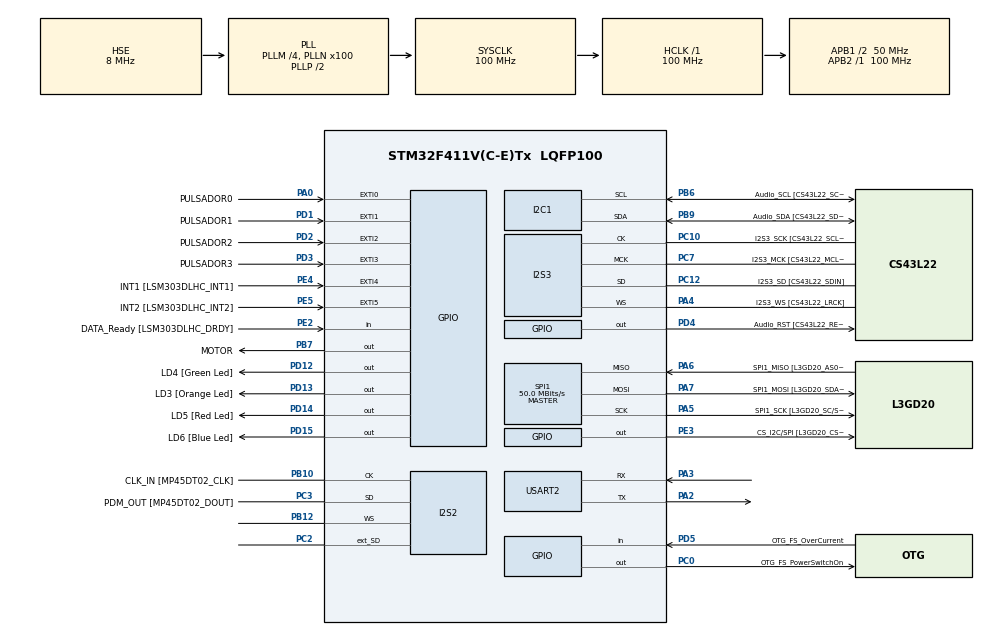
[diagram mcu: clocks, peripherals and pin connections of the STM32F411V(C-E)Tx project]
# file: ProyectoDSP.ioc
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FREERTOS.Tasks01=defaultTask,24,4096,StartDefaultTask,Default,NULL,Dynamic,NULL,NULL
FREERTOS.configMINIMAL_STACK_SIZE=128
FREERTOS.configTOTAL_HEAP_SIZE=32768
I2S2.AudioFreq=I2S_AUDIOFREQ_96K
I2S2.ErrorAudioFreq=0.15 %
I2S2.FullDuplexMode=I2S_FULLDUPLEXMODE_ENABLE
I2S2.Instance=SPI$Index
I2S2.RealAudioFreq=96.153 KHz
I2S2.VirtualMode=I2S_MODE_MASTER
I2S3.AudioFreq=I2S_AUDIOFREQ_96K
I2S3.ErrorAudioFreq=-6.99 %
I2S3.FullDuplexMode=I2S_FULLDUPLEXMODE_DISABLE
I2S3.Instance=SPI$Index
I2S3.RealAudioFreq=89.285 KHz
I2S3.VirtualMode=I2S_MODE_MASTER
Mcu.Family=STM32F4
Mcu.Name=STM32F411V(C-E)Tx
Mcu.Package=LQFP100
NVIC.EXTI0_IRQn=true\:5\:0\:false\:false\:true\:true\:true\:true
NVIC.EXTI1_IRQn=true\:5\:0\:false\:false\:true\:true\:true\:true
NVIC.EXTI2_IRQn=true\:5\:0\:false\:false\:true\:true\:true\:true
NVIC.EXTI3_IRQn=true\:5\:0\:false\:false\:true\:true\:true\:true
NVIC.PriorityGroup=NVIC_PRIORITYGROUP_4
NVIC.TIM1_UP_TIM10_IRQn=true\:0\:0\:false\:false\:true\:false\:false\:true
NVIC.TimeBase=TIM1_UP_TIM10_IRQn
NVIC.TimeBaseIP=TIM1
PA0-WKUP.GPIO_Label=PULSADOR0
PA0-WKUP.Signal=GPXTI0
PA13.GPIO_Label=SWDIO
PA13.Mode=Serial_Wire
PA13.Signal=SYS_JTMS-SWDIO
PA14.GPIO_Label=SWCLK
PA14.Mode=Serial_Wire
PA14.Signal=SYS_JTCK-SWCLK
PA2.Mode=Asynchronous
PA2.Signal=USART2_TX
PA3.Mode=Asynchronous
PA3.Signal=USART2_RX
PA4.GPIO_Label=I2S3_WS [CS43L22_LRCK]
PA4.GPIO_Mode=GPIO_MODE_AF_PP
PA4.GPIO_PuPd=GPIO_NOPULL
PA4.GPIO_Speed=GPIO_SPEED_FREQ_LOW
PA4.Mode=Half_Duplex_Master
PA4.Signal=I2S3_WS
PA5.GPIO_Label=SPI1_SCK [L3GD20_SC/SPC]
PA5.Mode=Full_Duplex_Master
PA5.Signal=SPI1_SCK
PA6.GPIO_Label=SPI1_MISO [L3GD20_AS0/SDO]
PA6.Mode=Full_Duplex_Master
PA6.Signal=SPI1_MISO
PA7.GPIO_Label=SPI1_MOSI [L3GD20_SDA/SDI/SDO]
PA7.Mode=Full_Duplex_Master
PA7.Signal=SPI1_MOSI
PB10.GPIO_Label=CLK_IN [MP45DT02_CLK]
PB10.Mode=Full_Duplex_Master
PB10.Signal=I2S2_CK
PB12.Mode=Full_Duplex_Master
PB12.Signal=I2S2_WS
PB3.GPIO_Label=SWO
PB3.Signal=SYS_JTDO-SWO
PB6.GPIO_Label=Audio_SCL [CS43L22_SCL]
PB6.GPIO_Mode=GPIO_MODE_AF_OD
PB6.GPIO_PuPd=GPIO_NOPULL
PB6.GPIO_Speed=GPIO_SPEED_FREQ_LOW
PB6.Mode=I2C
PB6.Signal=I2C1_SCL
PB7.GPIO_Label=MOTOR
PB7.GPIO_ModeDefaultOutputPP=GPIO_MODE_OUTPUT_OD
PB7.Signal=GPIO_Output
PB9.GPIO_Label=Audio_SDA [CS43L22_SDA]
PB9.GPIO_Mode=GPIO_MODE_AF_OD
PB9.GPIO_PuPd=GPIO_NOPULL
PB9.GPIO_Speed=GPIO_SPEED_FREQ_LOW
PB9.Mode=I2C
PB9.Signal=I2C1_SDA
PC0.GPIO_Label=OTG_FS_PowerSwitchOn
PC0.PinState=GPIO_PIN_SET
PC0.Signal=GPIO_Output
PC10.GPIO_Label=I2S3_SCK [CS43L22_SCLK]
PC10.GPIO_Mode=GPIO_MODE_AF_PP
PC10.GPIO_PuPd=GPIO_NOPULL
PC10.GPIO_Speed=GPIO_SPEED_FREQ_LOW
PC10.Mode=Half_Duplex_Master
PC10.Signal=I2S3_CK
PC12.GPIO_Label=I2S3_SD [CS43L22_SDIN]
PC12.GPIO_Mode=GPIO_MODE_AF_PP
PC12.GPIO_PuPd=GPIO_NOPULL
PC12.GPIO_Speed=GPIO_SPEED_FREQ_LOW
PC12.Mode=Half_Duplex_Master
PC12.Signal=I2S3_SD
PC14-OSC32_IN.GPIO_Label=PC14-OSC32_IN
PC14-OSC32_IN.Mode=LSE-External-Oscillator
PC14-OSC32_IN.Signal=RCC_OSC32_IN
PC15-OSC32_OUT.GPIO_Label=PC15-OSC32_OUT
PC15-OSC32_OUT.Mode=LSE-External-Oscillator
PC15-OSC32_OUT.Signal=RCC_OSC32_OUT
PC2.Mode=Full_Duplex_Master
PC2.Signal=I2S2_ext_SD
PC3.GPIO_Label=PDM_OUT [MP45DT02_DOUT]
PC3.Mode=Full_Duplex_Master
PC3.Signal=I2S2_SD
PC7.GPIO_Label=I2S3_MCK [CS43L22_MCLK]
PC7.GPIO_Mode=GPIO_MODE_AF_PP
PC7.GPIO_PuPd=GPIO_NOPULL
PC7.GPIO_Speed=GPIO_SPEED_FREQ_LOW
PC7.Mode=Master_Clock_Activated
PC7.Signal=I2S3_MCK
PD1.GPIO_Label=PULSADOR1
PD1.GPIO_PuPd=GPIO_PULLDOWN
PD1.Signal=GPXTI1
PD12.GPIO_Label=LD4 [Green Led]
PD12.GPIO_PuPd=GPIO_NOPULL
PD12.GPIO_Speed=GPIO_SPEED_FREQ_LOW
PD12.Signal=GPIO_Output
PD13.GPIO_Label=LD3 [Orange Led]
PD13.GPIO_PuPd=GPIO_NOPULL
PD13.GPIO_Speed=GPIO_SPEED_FREQ_LOW
PD13.Signal=GPIO_Output
PD14.GPIO_Label=LD5 [Red Led]
PD14.GPIO_PuPd=GPIO_NOPULL
PD14.GPIO_Speed=GPIO_SPEED_FREQ_LOW
PD14.Signal=GPIO_Output
PD15.GPIO_Label=LD6 [Blue Led]
PD15.GPIO_PuPd=GPIO_NOPULL
PD15.GPIO_Speed=GPIO_SPEED_FREQ_LOW
PD15.Signal=GPIO_Output
PD2.GPIO_Label=PULSADOR2
PD2.GPIO_PuPd=GPIO_PULLDOWN
PD2.Signal=GPXTI2
PD3.GPIO_Label=PULSADOR3
PD3.GPIO_PuPd=GPIO_PULLDOWN
PD3.Signal=GPXTI3
PD4.GPIO_Label=Audio_RST [CS43L22_RESET]
PD4.Signal=GPIO_Output
PD5.GPIO_Label=OTG_FS_OverCurrent
PD5.Signal=GPIO_Input
PE2.GPIO_Label=DATA_Ready [LSM303DLHC_DRDY]
PE2.Signal=GPIO_Input
PE3.GPIO_Label=CS_I2C/SPI [L3GD20_CS_I2C/SPI]
PE3.Signal=GPIO_Output
PE4.GPIO_Label=INT1 [LSM303DLHC_INT1]
PE4.GPIO_ModeDefaultEXTI=GPIO_MODE_EVT_RISING
PE4.Signal=GPXTI4
PE5.GPIO_Label=INT2 [LSM303DLHC_INT2]
PE5.GPIO_ModeDefaultEXTI=GPIO_MODE_EVT_RISING
PE5.Signal=GPXTI5
PH0\ -\ OSC_IN.GPIO_Label=PH0-OSC_IN
PH0\ -\ OSC_IN.Mode=HSE-External-Clock-Source
PH0\ -\ OSC_IN.Signal=RCC_OSC_IN
PH1\ -\ OSC_OUT.GPIO_Label=PH1-OSC_OUT
PH1\ -\ OSC_OUT.Mode=HSE-External-Clock-Source
PH1\ -\ OSC_OUT.Signal=RCC_OSC_OUT
ProjectManager.HeapSize=0x200
ProjectManager.StackSize=0x400
ProjectManager.TargetToolchain=STM32CubeIDE
RCC.48MHZClocksFreq_Value=25000000
RCC.AHBFreq_Value=100000000
RCC.APB1CLKDivider=RCC_HCLK_DIV2
RCC.APB1Freq_Value=50000000
RCC.APB1TimFreq_Value=100000000
RCC.APB2Freq_Value=100000000
RCC.APB2TimFreq_Value=100000000
RCC.CortexFreq_Value=100000000
RCC.HCLKFreq_Value=100000000
RCC.HSE_VALUE=8000000
RCC.HSI_VALUE=16000000
RCC.PLLI2SM=5
RCC.PLLI2SN=200
RCC.PLLM=4
RCC.PLLN=100
RCC.PLLQ=8
RCC.PLLSourceVirtual=RCC_PLLSOURCE_HSE
RCC.SYSCLKFreq_VALUE=100000000
RCC.SYSCLKSource=RCC_SYSCLKSOURCE_PLLCLK
RCC.VCOOutputFreq_Value=200000000
SPI1.BaudRatePrescaler=SPI_BAUDRATEPRESCALER_2
SPI1.CalculateBaudRate=50.0 MBits/s
SPI1.Direction=SPI_DIRECTION_2LINES
SPI1.Mode=SPI_MODE_MASTER
SPI1.VirtualType=VM_MASTER
USART2.VirtualMode=VM_ASYNC
VP_FREERTOS_VS_CMSIS_V2.Mode=CMSIS_V2
VP_SYS_VS_tim1.Mode=TIM1
board=STM32F411E-DISCO

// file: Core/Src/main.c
/* USER CODE BEGIN Header */
/**
  ******************************************************************************
  * @file           : main.c
  * @brief          : Main program body
  ******************************************************************************
  * @attention
  *
  * <h2><center>&copy; Copyright (c) 2019 STMicroelectronics.
  * All rights reserved.</center></h2>
  *
  * This software component is licensed by ST under Ultimate Liberty license
  * SLA0044, the "License"; You may not use this file except in compliance with
  * the License. You may obtain a copy of the License at:
  *                             www.st.com/SLA0044
  *
  ******************************************************************************
  */
/* USER CODE END Header */

#include "main.h"
#include "cmsis_os.h"

/* USER CODE BEGIN Includes */
#include "key_rtos.h"
#include "stdio.h"
#include "accelerometer_rtos.h"
/* USER CODE END Includes */

I2C_HandleTypeDef hi2c1;

I2S_HandleTypeDef hi2s2;
I2S_HandleTypeDef hi2s3;

SPI_HandleTypeDef hspi1;

UART_HandleTypeDef huart2;

osThreadId_t defaultTaskHandle;
/* USER CODE BEGIN PV */
int32_t contador;
/* USER CODE END PV */

void SystemClock_Config(void);
static void MX_GPIO_Init(void);
static void MX_I2C1_Init(void);
static void MX_I2S2_Init(void);
static void MX_I2S3_Init(void);
static void MX_SPI1_Init(void);
static void MX_USART2_UART_Init(void);
void StartDefaultTask(void *argument);

/* USER CODE BEGIN 0 */
int __io_putchar(int ch)
{
	ITM_SendChar( ch );
	return ch;
}
/* USER CODE END 0 */

int main(void)
{
  /* USER CODE BEGIN 1 */
	contador = 0;
  /* USER CODE END 1 */

  /* MCU Configuration--------------------------------------------------------*/

  /* Reset of all peripherals, Initializes the Flash interface and the Systick. */
  HAL_Init();

  /* Configure the system clock */
  SystemClock_Config();

  /* Initialize all configured peripherals */
  MX_GPIO_Init();
  MX_I2C1_Init();
  MX_I2S2_Init();
  MX_I2S3_Init();
  MX_SPI1_Init();
  MX_USART2_UART_Init();

  osKernelInitialize();

  /* Create the thread(s) */
  /* definition and creation of defaultTask */
  const osThreadAttr_t defaultTask_attributes = {
    .name = "defaultTask",
    .priority = (osPriority_t) osPriorityNormal,
    .stack_size = 4096
  };
  defaultTaskHandle = osThreadNew(StartDefaultTask, NULL, &defaultTask_attributes);

  /* USER CODE BEGIN RTOS_THREADS */
  /* add threads, ... */
  Init_Events(); //inicializacion de evento pulsador
  Accelerometer_Init();
  printf("Iniciando \n");
  /*char txData[50]= "";
  sprintf(txData, "%s", "inicio\r\n");
  HAL_UART_Transmit(&huart2, (uint8_t *) txData, sizeof(txData),1000);*/
  /* USER CODE END RTOS_THREADS */

  /* Start scheduler */
  osKernelStart();

  /* We should never get here as control is now taken by the scheduler */

  /* Infinite loop */
  while (1)
  {

  }
}

void SystemClock_Config(void)
{
  RCC_OscInitTypeDef RCC_OscInitStruct = {0};
  RCC_ClkInitTypeDef RCC_ClkInitStruct = {0};
  RCC_PeriphCLKInitTypeDef PeriphClkInitStruct = {0};

  /** Configure the main internal regulator output voltage
  */
  __HAL_RCC_PWR_CLK_ENABLE();
  __HAL_PWR_VOLTAGESCALING_CONFIG(PWR_REGULATOR_VOLTAGE_SCALE1);
  /** Initializes the CPU, AHB and APB busses clocks
  */
  RCC_OscInitStruct.OscillatorType = RCC_OSCILLATORTYPE_HSE;
  RCC_OscInitStruct.HSEState = RCC_HSE_BYPASS;
  RCC_OscInitStruct.PLL.PLLState = RCC_PLL_ON;
  RCC_OscInitStruct.PLL.PLLSource = RCC_PLLSOURCE_HSE;
  RCC_OscInitStruct.PLL.PLLM = 4;
  RCC_OscInitStruct.PLL.PLLN = 100;
  RCC_OscInitStruct.PLL.PLLP = RCC_PLLP_DIV2;
  RCC_OscInitStruct.PLL.PLLQ = 8;
  if (HAL_RCC_OscConfig(&RCC_OscInitStruct) != HAL_OK)
  {
    Error_Handler();
  }
  /** Initializes the CPU, AHB and APB busses clocks
  */
  RCC_ClkInitStruct.ClockType = RCC_CLOCKTYPE_HCLK|RCC_CLOCKTYPE_SYSCLK
                              |RCC_CLOCKTYPE_PCLK1|RCC_CLOCKTYPE_PCLK2;
  RCC_ClkInitStruct.SYSCLKSource = RCC_SYSCLKSOURCE_PLLCLK;
  RCC_ClkInitStruct.AHBCLKDivider = RCC_SYSCLK_DIV1;
  RCC_ClkInitStruct.APB1CLKDivider = RCC_HCLK_DIV2;
  RCC_ClkInitStruct.APB2CLKDivider = RCC_HCLK_DIV1;

  if (HAL_RCC_ClockConfig(&RCC_ClkInitStruct, FLASH_LATENCY_3) != HAL_OK)
  {
    Error_Handler();
  }
  PeriphClkInitStruct.PeriphClockSelection = RCC_PERIPHCLK_I2S;
  PeriphClkInitStruct.PLLI2S.PLLI2SN = 200;
  PeriphClkInitStruct.PLLI2S.PLLI2SM = 5;
  PeriphClkInitStruct.PLLI2S.PLLI2SR = 2;
  if (HAL_RCCEx_PeriphCLKConfig(&PeriphClkInitStruct) != HAL_OK)
  {
    Error_Handler();
  }
}

static void MX_I2C1_Init(void)
{

  hi2c1.Instance = I2C1;
  hi2c1.Init.ClockSpeed = 100000;
  hi2c1.Init.DutyCycle = I2C_DUTYCYCLE_2;
  hi2c1.Init.OwnAddress1 = 0;
  hi2c1.Init.AddressingMode = I2C_ADDRESSINGMODE_7BIT;
  hi2c1.Init.DualAddressMode = I2C_DUALADDRESS_DISABLE;
  hi2c1.Init.OwnAddress2 = 0;
  hi2c1.Init.GeneralCallMode = I2C_GENERALCALL_DISABLE;
  hi2c1.Init.NoStretchMode = I2C_NOSTRETCH_DISABLE;
  if (HAL_I2C_Init(&hi2c1) != HAL_OK)
  {
    Error_Handler();
  }

}

static void MX_I2S2_Init(void)
{

  hi2s2.Instance = SPI2;
  hi2s2.Init.Mode = I2S_MODE_MASTER_TX;
  hi2s2.Init.Standard = I2S_STANDARD_PHILIPS;
  hi2s2.Init.DataFormat = I2S_DATAFORMAT_16B;
  hi2s2.Init.MCLKOutput = I2S_MCLKOUTPUT_DISABLE;
  hi2s2.Init.AudioFreq = I2S_AUDIOFREQ_96K;
  hi2s2.Init.CPOL = I2S_CPOL_LOW;
  hi2s2.Init.ClockSource = I2S_CLOCK_PLL;
  hi2s2.Init.FullDuplexMode = I2S_FULLDUPLEXMODE_ENABLE;
  if (HAL_I2S_Init(&hi2s2) != HAL_OK)
  {
    Error_Handler();
  }

}

static void MX_I2S3_Init(void)
{

  hi2s3.Instance = SPI3;
  hi2s3.Init.Mode = I2S_MODE_MASTER_TX;
  hi2s3.Init.Standard = I2S_STANDARD_PHILIPS;
  hi2s3.Init.DataFormat = I2S_DATAFORMAT_16B;
  hi2s3.Init.MCLKOutput = I2S_MCLKOUTPUT_ENABLE;
  hi2s3.Init.AudioFreq = I2S_AUDIOFREQ_96K;
  hi2s3.Init.CPOL = I2S_CPOL_LOW;
  hi2s3.Init.ClockSource = I2S_CLOCK_PLL;
  hi2s3.Init.FullDuplexMode = I2S_FULLDUPLEXMODE_DISABLE;
  if (HAL_I2S_Init(&hi2s3) != HAL_OK)
  {
    Error_Handler();
  }

}

static void MX_SPI1_Init(void)
{

  /* SPI1 parameter configuration*/
  hspi1.Instance = SPI1;
  hspi1.Init.Mode = SPI_MODE_MASTER;
  hspi1.Init.Direction = SPI_DIRECTION_2LINES;
  hspi1.Init.DataSize = SPI_DATASIZE_8BIT;
  hspi1.Init.CLKPolarity = SPI_POLARITY_LOW;
  hspi1.Init.CLKPhase = SPI_PHASE_1EDGE;
  hspi1.Init.NSS = SPI_NSS_SOFT;
  hspi1.Init.BaudRatePrescaler = SPI_BAUDRATEPRESCALER_2;
  hspi1.Init.FirstBit = SPI_FIRSTBIT_MSB;
  hspi1.Init.TIMode = SPI_TIMODE_DISABLE;
  hspi1.Init.CRCCalculation = SPI_CRCCALCULATION_DISABLE;
  hspi1.Init.CRCPolynomial = 10;
  if (HAL_SPI_Init(&hspi1) != HAL_OK)
  {
    Error_Handler();
  }

}

static void MX_USART2_UART_Init(void)
{

  huart2.Instance = USART2;
  huart2.Init.BaudRate = 115200;
  huart2.Init.WordLength = UART_WORDLENGTH_8B;
  huart2.Init.StopBits = UART_STOPBITS_1;
  huart2.Init.Parity = UART_PARITY_NONE;
  huart2.Init.Mode = UART_MODE_TX_RX;
  huart2.Init.HwFlowCtl = UART_HWCONTROL_NONE;
  huart2.Init.OverSampling = UART_OVERSAMPLING_16;
  if (HAL_UART_Init(&huart2) != HAL_OK)
  {
    Error_Handler();
  }

}

static void MX_GPIO_Init(void)
{
  GPIO_InitTypeDef GPIO_InitStruct = {0};

  /* GPIO Ports Clock Enable */
  __HAL_RCC_GPIOE_CLK_ENABLE();
  __HAL_RCC_GPIOC_CLK_ENABLE();
  __HAL_RCC_GPIOH_CLK_ENABLE();
  __HAL_RCC_GPIOA_CLK_ENABLE();
  __HAL_RCC_GPIOB_CLK_ENABLE();
  __HAL_RCC_GPIOD_CLK_ENABLE();

  /*Configure GPIO pin Output Level */
  HAL_GPIO_WritePin(CS_I2C_SPI_GPIO_Port, CS_I2C_SPI_Pin, GPIO_PIN_RESET);

  /*Configure GPIO pin Output Level */
  HAL_GPIO_WritePin(OTG_FS_PowerSwitchOn_GPIO_Port, OTG_FS_PowerSwitchOn_Pin, GPIO_PIN_SET);

  /*Configure GPIO pin Output Level */
  HAL_GPIO_WritePin(GPIOD, LD4_Pin|LD3_Pin|LD5_Pin|LD6_Pin
                          |Audio_RST_Pin, GPIO_PIN_RESET);

  /*Configure GPIO pin Output Level */
  HAL_GPIO_WritePin(MOTOR_GPIO_Port, MOTOR_Pin, GPIO_PIN_RESET);

  /*Configure GPIO pin : DATA_Ready_Pin */
  GPIO_InitStruct.Pin = DATA_Ready_Pin;
  GPIO_InitStruct.Mode = GPIO_MODE_INPUT;
  GPIO_InitStruct.Pull = GPIO_NOPULL;
  HAL_GPIO_Init(DATA_Ready_GPIO_Port, &GPIO_InitStruct);

  /*Configure GPIO pin : CS_I2C_SPI_Pin */
  GPIO_InitStruct.Pin = CS_I2C_SPI_Pin;
  GPIO_InitStruct.Mode = GPIO_MODE_OUTPUT_PP;
  GPIO_InitStruct.Pull = GPIO_NOPULL;
  GPIO_InitStruct.Speed = GPIO_SPEED_FREQ_LOW;
  HAL_GPIO_Init(CS_I2C_SPI_GPIO_Port, &GPIO_InitStruct);

  /*Configure GPIO pins : INT1_Pin INT2_Pin */
  GPIO_InitStruct.Pin = INT1_Pin|INT2_Pin;
  GPIO_InitStruct.Mode = GPIO_MODE_EVT_RISING;
  GPIO_InitStruct.Pull = GPIO_NOPULL;
  HAL_GPIO_Init(GPIOE, &GPIO_InitStruct);

  /*Configure GPIO pin : OTG_FS_PowerSwitchOn_Pin */
  GPIO_InitStruct.Pin = OTG_FS_PowerSwitchOn_Pin;
  GPIO_InitStruct.Mode = GPIO_MODE_OUTPUT_PP;
  GPIO_InitStruct.Pull = GPIO_NOPULL;
  GPIO_InitStruct.Speed = GPIO_SPEED_FREQ_LOW;
  HAL_GPIO_Init(OTG_FS_PowerSwitchOn_GPIO_Port, &GPIO_InitStruct);

  /*Configure GPIO pin : PULSADOR0_Pin */
  GPIO_InitStruct.Pin = PULSADOR0_Pin;
  GPIO_InitStruct.Mode = GPIO_MODE_IT_RISING;
  GPIO_InitStruct.Pull = GPIO_NOPULL;
  HAL_GPIO_Init(PULSADOR0_GPIO_Port, &GPIO_InitStruct);

  /*Configure GPIO pins : LD4_Pin LD3_Pin LD5_Pin LD6_Pin
                           Audio_RST_Pin */
  GPIO_InitStruct.Pin = LD4_Pin|LD3_Pin|LD5_Pin|LD6_Pin
                          |Audio_RST_Pin;
  GPIO_InitStruct.Mode = GPIO_MODE_OUTPUT_PP;
  GPIO_InitStruct.Pull = GPIO_NOPULL;
  GPIO_InitStruct.Speed = GPIO_SPEED_FREQ_LOW;
  HAL_GPIO_Init(GPIOD, &GPIO_InitStruct);

  /*Configure GPIO pins : PULSADOR1_Pin PULSADOR2_Pin PULSADOR3_Pin */
  GPIO_InitStruct.Pin = PULSADOR1_Pin|PULSADOR2_Pin|PULSADOR3_Pin;
  GPIO_InitStruct.Mode = GPIO_MODE_IT_RISING;
  GPIO_InitStruct.Pull = GPIO_PULLDOWN;
  HAL_GPIO_Init(GPIOD, &GPIO_InitStruct);

  /*Configure GPIO pin : OTG_FS_OverCurrent_Pin */
  GPIO_InitStruct.Pin = OTG_FS_OverCurrent_Pin;
  GPIO_InitStruct.Mode = GPIO_MODE_INPUT;
  GPIO_InitStruct.Pull = GPIO_NOPULL;
  HAL_GPIO_Init(OTG_FS_OverCurrent_GPIO_Port, &GPIO_InitStruct);

  /*Configure GPIO pin : MOTOR_Pin */
  GPIO_InitStruct.Pin = MOTOR_Pin;
  GPIO_InitStruct.Mode = GPIO_MODE_OUTPUT_OD;
  GPIO_InitStruct.Pull = GPIO_NOPULL;
  GPIO_InitStruct.Speed = GPIO_SPEED_FREQ_LOW;
  HAL_GPIO_Init(MOTOR_GPIO_Port, &GPIO_InitStruct);

  /* EXTI interrupt init*/
  HAL_NVIC_SetPriority(EXTI0_IRQn, 5, 0);
  HAL_NVIC_EnableIRQ(EXTI0_IRQn);

  HAL_NVIC_SetPriority(EXTI1_IRQn, 5, 0);
  HAL_NVIC_EnableIRQ(EXTI1_IRQn);

  HAL_NVIC_SetPriority(EXTI2_IRQn, 5, 0);
  HAL_NVIC_EnableIRQ(EXTI2_IRQn);

  HAL_NVIC_SetPriority(EXTI3_IRQn, 5, 0);
  HAL_NVIC_EnableIRQ(EXTI3_IRQn);

}

void StartDefaultTask(void *argument)
{
  /* USER CODE BEGIN 5 */
  /* Infinite loop */

  for(;;)
  {
	  contador++;
	  HAL_GPIO_TogglePin(GPIOD, LD3_Pin);
	  printf("Cuenta: %ld \n", contador);

	  /*char txData[50]= "";
	  sprintf(txData, "%d\n\r", contador);
	  HAL_UART_Transmit(&huart2, (uint8_t *) txData, sizeof(txData),1000);*/
	  osDelay(500);
  }
  /* USER CODE END 5 */
}

void HAL_TIM_PeriodElapsedCallback(TIM_HandleTypeDef *htim)
{
  if (htim->Instance == TIM1) {
    HAL_IncTick();
  }
}

void Error_Handler(void)
{
}

/************************ (C) COPYRIGHT STMicroelectronics *****END OF FILE****/
